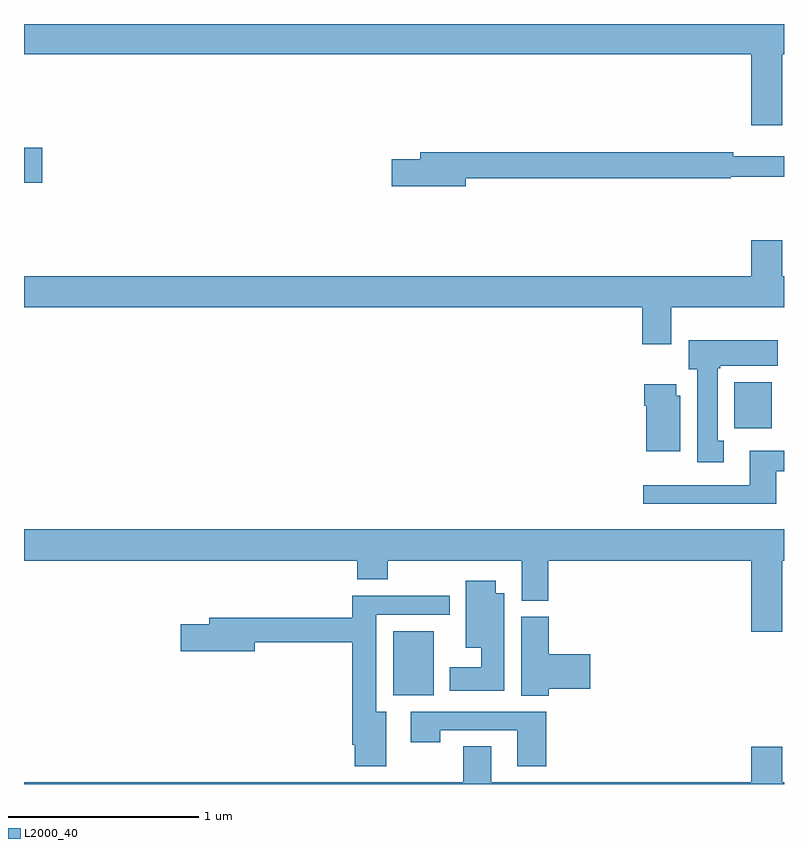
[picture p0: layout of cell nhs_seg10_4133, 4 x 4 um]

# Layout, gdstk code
import gdstk
lib = gdstk.Library(unit=1e-6, precision=1e-09)
def R(c, l, rs):  # rectangles x0, y0, x1, y1
    for r in rs: c.add(gdstk.rectangle(r[:2], r[2:], *l))
def P(c, l, *ps):  # polygons
    for p in ps: c.add(gdstk.Polygon(p, *l))
L2000_40 = (2000, 40)

nhs_seg10_4133 = lib.new_cell('nhs_seg10_4133')
R(nhs_seg10_4133, L2000_40, [(342.944,1272.968,343.156,1273.303), (344.738,1274.372,344.935,1274.614), (341,1275.665,341.095,1275.848)])
P(nhs_seg10_4133, L2000_40, [(344.992,1276.34),(345,1276.34),(345,1276.5),(341,1276.5),(341,1276.34),(344.828,1276.34),(344.828,1275.966),(344.992,1275.966)],
  [(343.324,1275.688),(344.72,1275.688),(344.72,1275.696),(345,1275.696),(345,1275.805),(344.732,1275.805),(344.732,1275.824),(343.085,1275.824),(343.085,1275.788),(342.936,1275.788),(342.936,1275.646),(343.324,1275.646)],
  [(344.407,1275.008),(345,1275.008),(345,1275.172),(344.992,1275.172),(344.992,1275.361),(344.828,1275.361),(344.828,1275.172),(341,1275.172),(341,1275.008),(344.255,1275.008),(344.255,1274.814),(344.407,1274.814)],
  [(344.683,1274.306),(344.65,1274.306),(344.65,1274.689),(344.664,1274.689),(344.664,1274.702),(344.968,1274.702),(344.968,1274.836),(344.498,1274.836),(344.498,1274.682),(344.543,1274.682),(344.543,1274.193),(344.683,1274.193)],
  [(344.455,1274.544),(344.434,1274.544),(344.434,1274.605),(344.264,1274.605),(344.264,1274.492),(344.276,1274.492),(344.276,1274.252),(344.455,1274.252)],
  [(344.959,1274.145),(345,1274.145),(345,1274.254),(344.819,1274.254),(344.819,1274.073),(344.259,1274.073),(344.259,1273.976),(344.959,1273.976)],
  [(344.992,1273.676),(345,1273.676),(345,1273.84),(341,1273.84),(341,1273.676),(342.755,1273.676),(342.755,1273.577),(342.915,1273.577),(342.915,1273.676),(343.619,1273.676),(343.619,1273.465),(343.76,1273.465),(343.76,1273.676),(344.828,1273.676),(344.828,1273.302),(344.992,1273.302)],
  [(343.528,1273.504),(343.483,1273.504),(343.483,1273.57),(343.325,1273.57),(343.325,1273.217),(343.406,1273.217),(343.406,1273.114),(343.241,1273.114),(343.241,1272.992),(343.528,1272.992)],
  [(342.907,1272.88),(342.853,1272.88),(342.853,1273.392),(343.24,1273.392),(343.24,1273.49),(342.728,1273.49),(342.728,1273.375),(341.975,1273.375),(341.975,1273.341),(341.826,1273.341),(341.826,1273.199),(342.214,1273.199),(342.214,1273.246),(342.728,1273.246),(342.728,1272.706),(342.74,1272.706),(342.74,1272.594),(342.907,1272.594)],
  [(343.763,1273.001),(343.981,1273.001),(343.981,1273.184),(343.763,1273.184),(343.763,1273.38),(343.616,1273.38),(343.616,1272.964),(343.763,1272.964)],
  [(343.748,1272.879),(343.035,1272.879),(343.035,1272.72),(343.191,1272.72),(343.191,1272.783),(343.595,1272.783),(343.595,1272.594),(343.748,1272.594)],
  [(345,1272.508),(344.992,1272.508),(344.992,1272.697),(344.828,1272.697),(344.828,1272.508),(343.459,1272.508),(343.459,1272.698),(343.312,1272.698),(343.312,1272.508),(341,1272.508),(341,1272.5),(345,1272.5)])

lib.write_gds('nhs_seg10_4133.gds')
